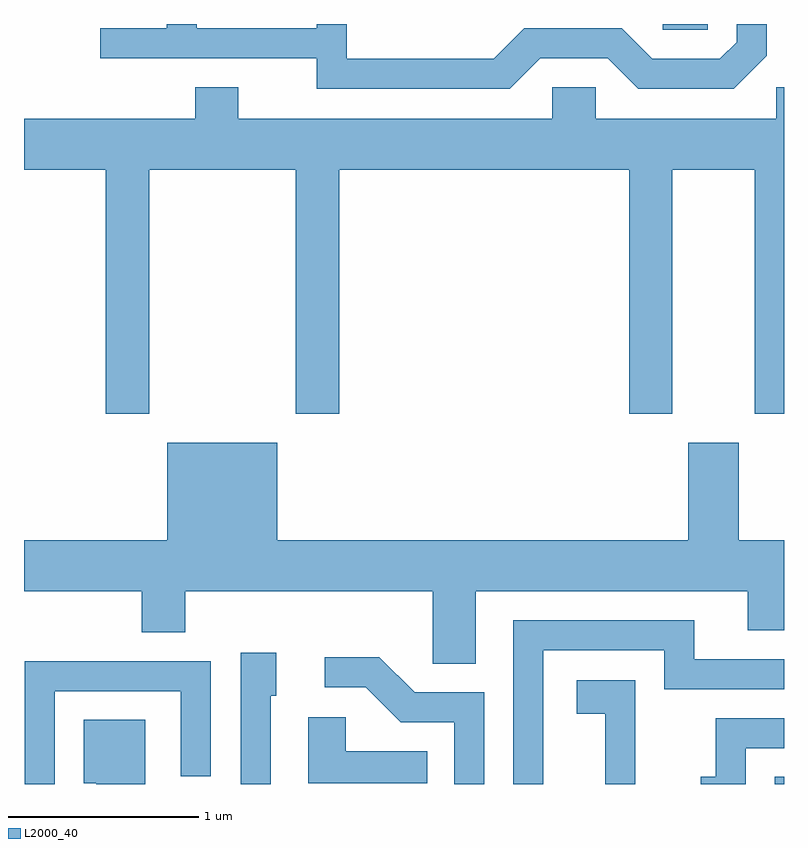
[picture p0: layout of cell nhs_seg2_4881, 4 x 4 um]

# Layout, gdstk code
import gdstk
lib = gdstk.Library(unit=1e-6, precision=1e-09)
def R(c, l, rs):  # rectangles x0, y0, x1, y1
    for r in rs: c.add(gdstk.rectangle(r[:2], r[2:], *l))
def P(c, l, *ps):  # polygons
    for p in ps: c.add(gdstk.Polygon(p, *l))
L2000_40 = (2000, 40)

nhs_seg2_4881 = lib.new_cell('nhs_seg2_4881')
R(nhs_seg2_4881, L2000_40, [(333.561,991.802,333.611,991.839), (332.973,995.771,333.209,995.802)])
P(nhs_seg2_4881, L2000_40, [(332.327,995.621),(332.684,995.621),(332.844,995.461),(333.347,995.461),(333.519,995.634),(333.519,995.802),(333.361,995.802),(333.361,995.707),(333.274,995.619),(332.917,995.619),(332.757,995.779),(332.244,995.779),(332.084,995.619),(331.309,995.619),(331.309,995.802),(331.151,995.802),(331.151,995.779),(330.519,995.779),(330.519,995.802),(330.361,995.802),(330.361,995.779),(330.013,995.779),(330.013,995.621),(331.151,995.621),(331.151,995.461),(332.167,995.461)],
  [(330.269,995.036),(331.041,995.036),(331.041,993.751),(331.269,993.751),(331.269,995.036),(332.796,995.036),(332.796,993.751),(333.024,993.751),(333.024,995.036),(333.456,995.036),(333.456,993.751),(333.611,993.751),(333.611,995.469),(333.571,995.469),(333.571,995.304),(332.619,995.304),(332.619,995.469),(332.391,995.469),(332.391,995.304),(330.739,995.304),(330.739,995.469),(330.511,995.469),(330.511,995.304),(329.611,995.304),(329.611,995.036),(330.041,995.036),(330.041,993.751),(330.269,993.751)],
  [(331.989,992.816),(333.421,992.816),(333.421,992.611),(333.611,992.611),(333.611,993.084),(333.374,993.084),(333.374,993.599),(333.106,993.599),(333.106,993.084),(330.944,993.084),(330.944,993.599),(330.366,993.599),(330.366,993.084),(329.611,993.084),(329.611,992.816),(330.231,992.816),(330.231,992.601),(330.459,992.601),(330.459,992.816),(331.761,992.816),(331.761,992.436),(331.989,992.436)],
  [(332.344,992.506),(332.981,992.506),(332.981,992.301),(333.611,992.301),(333.611,992.459),(333.139,992.459),(333.139,992.664),(332.186,992.664),(332.186,991.802),(332.344,991.802)],
  [(330.909,992.266),(330.939,992.266),(330.939,992.494),(330.751,992.494),(330.751,991.802),(330.909,991.802)],
  [(332.034,992.284),(331.667,992.284),(331.482,992.469),(331.193,992.469),(331.193,992.311),(331.409,992.311),(331.594,992.126),(331.876,992.126),(331.876,991.802),(332.034,991.802)],
  [(329.774,992.291),(330.436,992.291),(330.436,991.843),(330.594,991.843),(330.594,992.449),(329.616,992.449),(329.616,991.802),(329.774,991.802)],
  [(332.829,992.349),(332.521,992.349),(332.521,992.171),(332.671,992.171),(332.671,991.802),(332.829,991.802)],
  [(331.733,991.974),(331.304,991.974),(331.304,992.154),(331.106,992.154),(331.106,991.806),(331.733,991.806)],
  [(333.409,991.991),(333.611,991.991),(333.611,992.149),(333.251,992.149),(333.251,991.839),(333.173,991.839),(333.173,991.802),(333.409,991.802)],
  [(330.249,992.139),(329.926,992.139),(329.926,991.806),(329.991,991.806),(329.991,991.802),(330.249,991.802)])

lib.write_gds('nhs_seg2_4881.gds')
